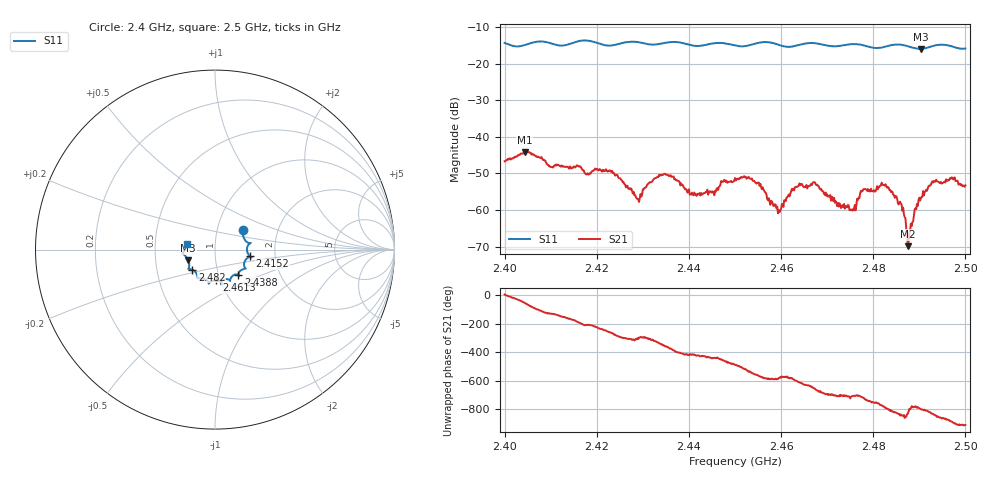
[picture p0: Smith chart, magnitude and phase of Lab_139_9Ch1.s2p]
# Hz S RI R 50
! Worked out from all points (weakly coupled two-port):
!   601 points, 2.4 GHz to 2.5 GHz, reference 50 ohm
!   highest |S21| = -44.12 dB at 2.4043 GHz (marker M1); lowest = -69.9 dB at 2.4875 GHz (marker M2)
!   lowest |S11| = -15.9 dB at 2.4903 GHz (marker M3), VSWR 1.38, Z = 36.8 - j4.43 ohm
!   |S11| at or under -10 dB: start of sweep to end of sweep
!   S12 and S22 are empty: the file has one direction only
!   S11 on the Smith chart (normalised r, x): 2.4 GHz: 1.33, +0.31; 2.4152 GHz: 1.48, -0.11; 2.4388 GHz: 1.24, -0.36; 2.4613 GHz: 0.96, -0.34; 2.482 GHz: 0.76, -0.17; 2.5 GHz: 0.72, +0.05
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2.4e9  0.1579 0.1119  0.00463 0.000402  0 0  0 0
2.404333e9  0.1753 0.0442  0.00374 -0.00497  0 0  0 0
2.415167e9  0.1938 -0.0374  -0.00386 -0.000327  0 0  0 0
2.416667e9  0.2035 -0.0438  -0.0035 0.00133  0 0  0 0
2.423333e9  0.1621 -0.0766  -0.000162 0.00344  0 0  0 0
2.428833e9  0.1689 -0.106  0.000761 0.0012  0 0  0 0
2.433333e9  0.1323 -0.1314  0.0025 0.0013  0 0  0 0
2.438833e9  0.1297 -0.1406  0.00119 -0.00168  0 0  0 0
2.45e9  0.0688 -0.165  -0.00174 -0.00212  0 0  0 0
2.455e9  0.0341 -0.1906  -0.00214 0.000917  0 0  0 0
2.4595e9  0.0295 -0.1798  -0.00074 0.000671  0 0  0 0
2.461333e9  0.00776 -0.1713  -0.00127 0.000779  0 0  0 0
2.466667e9  -0.0348 -0.19  0.000489 0.00213  0 0  0 0
2.475333e9  -0.094 -0.1611  0.000986 0.000163  0 0  0 0
2.477667e9  -0.0974 -0.1525  0.00181 4.64e-05  0 0  0 0
2.482e9  -0.1261 -0.1116  0.00116 -0.00189  0 0  0 0
2.483333e9  -0.1395 -0.1088  0.000158 -0.00203  0 0  0 0
2.486167e9  -0.1482 -0.1064  -0.000709 -0.00094  0 0  0 0
2.4875e9  -0.1446 -0.0978  -0.000133 -0.000291  0 0  0 0
2.490333e9  -0.1492 -0.0586  0.000195 -0.00143  0 0  0 0
2.493333e9  -0.1769 -0.025  -0.00135 -0.00206  0 0  0 0
2.5e9  -0.1587 0.0324  -0.00212 0.000483  0 0  0 0
